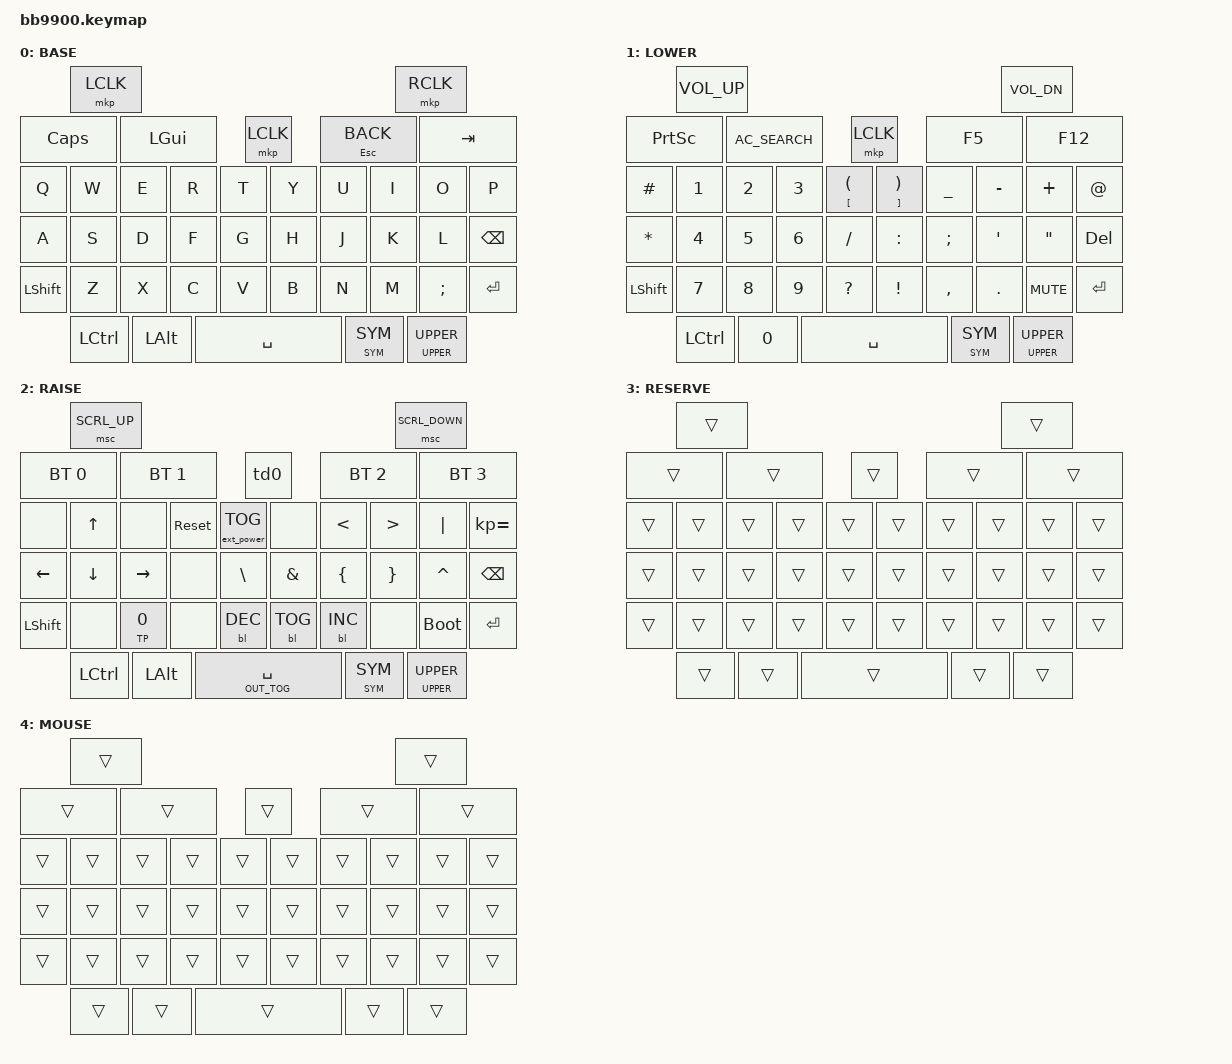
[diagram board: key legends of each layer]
/*
 * Copyright (c) 2023 ZitaoTech
 *
 * SPDX-License-Identifier: MIT
 */

#define ZMK_BEHAVIORS_KEEP_TO
#define ZMK_BEHAVIORS_KEEP_DEFAULT_LAYER
#include <behaviors.dtsi>
#include <behaviors/default_layer.dtsi>
#include <behaviors/runtime_macro.dtsi>
#include <behaviors/pointing_dpi.dtsi>
#include <behaviors/runtime_tap_dance.dtsi>
#include <behaviors/trackpad_mode.dtsi>
#include <input/processors.dtsi>
#include <dt-bindings/zmk/keys.h>
#include <dt-bindings/zmk/bt.h>
#include <dt-bindings/zmk/outputs.h>
#include <dt-bindings/zmk/mouse.h>
#include <dt-bindings/zmk/backlight.h>
#include <dt-bindings/zmk/ext_power.h>


#define SYM 1
#define UPPER 2

/* Match old bbp9981: tap a one-shot sticky layer, hold a momentary layer. */
&sl {
    release-after-ms = <3000>;
};

/ {
    behaviors {
        sl_mo: behavior_sl_mo {
            compatible = "zmk,behavior-hold-tap";
            #binding-cells = <2>;
            flavor = "hold-preferred";
            tapping-term-ms = <450>;
            bindings = <&mo &sl>;
            display-name = "STICKY / MOMENTARY LAYER";
        };
    };
    behaviors {
        td0: tap_dance_0 {
            compatible = "zmk,behavior-tap-dance";
            #binding-cells = <0>;
            tapping-term-ms = <400>;
            bindings = <&mkp LCLK>, <&bt BT_CLR>;
        };
    };
    behaviors {
        hm: homerow_mods {
            compatible = "zmk,behavior-hold-tap";
            #binding-cells = <2>;
            tapping-term-ms = <500>;
            bindings = <&out &kp>;
        };
    };

    keymap {
        compatible = "zmk,keymap";

        default_layer {
            display-name = "BASE";

            bindings = <
//         --------------------------------------------------------------------------------------------------------------------------
//         |    Shoulder Key1    |                                                                             |    Shoulder Key2    |
// |         Call key      |      Blackberry Key        |    Trackpad    |             Back Key                |             Endcall Key          |
// |     Q      |     W    |     E    |     R    |      T      |       Y        |       U        |        I        |       O      |      P        |
// |     A      |     S    |     D    |     F    |      G      |       H        |       J        |        K        |       L      |      ←        |
// |     alt    |     Z    |     X    |     C    |      V      |       B        |       N        |        M        |       $      |    Enter      |
//        |         aA     |         0           |           SPACE              |         SYM         |        aA          |
//        -----------------------------------------------------------------------------------------------------------------

                 &mkp LCLK                                                                                          &mkp RCLK
    &kp CLCK                &kp LGUI                            &mkp LCLK                          &mt ESC K_BACK                    &kp TAB
    &kp Q        &kp W      &kp E       &kp R     &kp T         &kp Y             &kp U            &kp I            &kp O            &kp P
    &kp A        &kp S      &kp D       &kp F     &kp G         &kp H             &kp J            &kp K            &kp L            &kp BSPC
    &kp LSHFT    &kp Z      &kp X       &kp C     &kp V         &kp B             &kp N            &kp M            &kp SEMI         &kp ENTER
    &kp LCTRL               &kp LALT                            &kp SPACE                          &sl_mo SYM SYM                          &sl_mo UPPER UPPER
            >;
        };


        sym_layer {
            display-name = "LOWER";

            bindings = <
                 &kp C_VOL_UP                                                                                       &kp C_VOL_DN
    &kp PSCRN               &kp C_AC_SEARCH                     &mkp LCLK                          &kp F5                            &kp F12
    &kp HASH     &kp N1     &kp N2      &kp N3    &mt LBKT LPAR &mt RBKT RPAR     &kp UNDER        &kp MINUS        &kp PLUS         &kp AT
    &kp STAR     &kp N4     &kp N5      &kp N6    &kp SLASH     &kp COLON         &kp SEMI         &kp APOS         &kp DQT          &kp DEL
    &kp LSHFT    &kp N7     &kp N8      &kp N9    &kp QMARK     &kp EXCL          &kp COMMA        &kp DOT          &kp C_MUTE       &kp ENTER
    &kp LCTRL               &kp N0                              &kp SPACE                          &sl_mo SYM SYM                          &sl_mo UPPER UPPER
            >;
        };

        upper_layer {
            display-name = "RAISE";

            bindings = <
                 &msc SCRL_UP                                                                                       &msc SCRL_DOWN
    &bt BT_SEL 0            &bt BT_SEL 1                             &td0                           &bt BT_SEL 2                     &bt BT_SEL 3
    &none        &kp UP     &none       &sys_reset &ext_power EP_TOG &none         &kp LT           &kp GT          &kp PIPE         &kp KP_EQUAL
    &kp LEFT     &kp DOWN   &kp RIGHT   &none      &kp BSLH          &kp AMPS      &kp LBRC         &kp RBRC        &kp CARET        &kp BSPC
    &kp LSHFT    &none      &TP 0       &none      &bl BL_DEC        &bl BL_TOG    &bl BL_INC       &none           &bootloader      &kp ENTER
    &kp LCTRL               &kp LALT                                 &hm OUT_TOG SPACE              &sl_mo SYM SYM                         &sl_mo UPPER UPPER
            >;
        };
        reserve_layer {
            display-name = "RESERVE";
            bindings = <&trans &trans &trans &trans &trans &trans &trans &trans &trans &trans &trans &trans &trans &trans &trans &trans &trans &trans &trans &trans &trans &trans &trans &trans &trans &trans &trans &trans &trans &trans &trans &trans &trans &trans &trans &trans &trans &trans &trans &trans &trans &trans>;
        };
        mouse_layer {
            display-name = "MOUSE";
            bindings = <&trans &trans &trans &trans &trans &trans &trans &trans &trans &trans &trans &trans &trans &trans &trans &trans &trans &trans &trans &trans &trans &trans &trans &trans &trans &trans &trans &trans &trans &trans &trans &trans &trans &trans &trans &trans &trans &trans &trans &trans &trans &trans>;
        };
        /* Sofle-style unused slots: Studio can allocate these with +. */
        extra1 { status = "reserved"; };
        extra2 { status = "reserved"; };
        extra3 { status = "reserved"; };
        extra4 { status = "reserved"; };

    };
};
